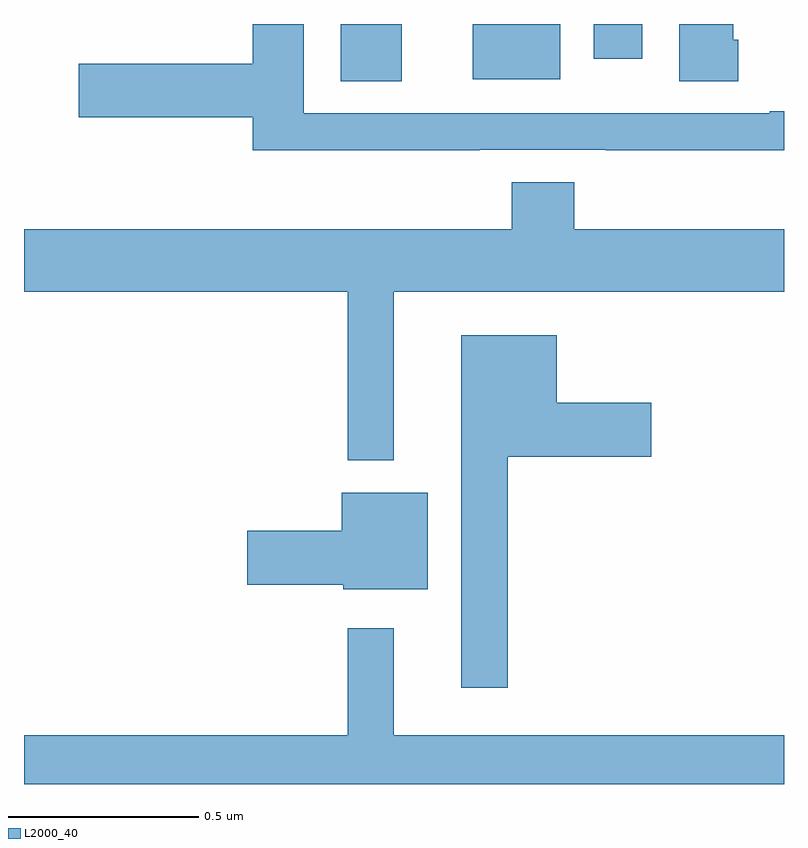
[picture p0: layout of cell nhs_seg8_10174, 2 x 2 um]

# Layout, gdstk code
import gdstk
lib = gdstk.Library(unit=1e-6, precision=1e-09)
def R(c, l, rs):  # rectangles x0, y0, x1, y1
    for r in rs: c.add(gdstk.rectangle(r[:2], r[2:], *l))
def P(c, l, *ps):  # polygons
    for p in ps: c.add(gdstk.Polygon(p, *l))
L2000_40 = (2000, 40)

nhs_seg8_10174 = lib.new_cell('nhs_seg8_10174')
R(nhs_seg8_10174, L2000_40, [(246.833,1087.75,246.994,1087.9), (247.181,1087.754,247.411,1087.9), (247.499,1087.809,247.627,1087.9)])
P(nhs_seg8_10174, L2000_40, [(247.88,1087.858),(247.867,1087.858),(247.867,1087.9),(247.724,1087.9),(247.724,1087.75),(247.88,1087.75)],
  [(247.199,1087.569),(247.531,1087.569),(247.531,1087.568),(248,1087.568),(248,1087.67),(247.963,1087.67),(247.963,1087.665),(246.736,1087.665),(246.736,1087.9),(246.602,1087.9),(246.602,1087.796),(246.144,1087.796),(246.144,1087.654),(246.602,1087.654),(246.602,1087.568),(247.199,1087.568)],
  [(246.973,1087.196),(248,1087.196),(248,1087.36),(247.448,1087.36),(247.448,1087.484),(247.283,1087.484),(247.283,1087.36),(246,1087.36),(246,1087.196),(246.852,1087.196),(246.852,1086.752),(246.973,1086.752)],
  [(247.273,1086.761),(247.651,1086.761),(247.651,1086.903),(247.402,1086.903),(247.402,1087.081),(247.151,1087.081),(247.151,1086.153),(247.273,1086.153)],
  [(247.063,1086.667),(246.836,1086.667),(246.836,1086.566),(246.588,1086.566),(246.588,1086.424),(246.84,1086.424),(246.84,1086.413),(247.063,1086.413)],
  [(248,1086.028),(246.973,1086.028),(246.973,1086.31),(246.852,1086.31),(246.852,1086.028),(246,1086.028),(246,1085.9),(248,1085.9)])

lib.write_gds('nhs_seg8_10174.gds')
